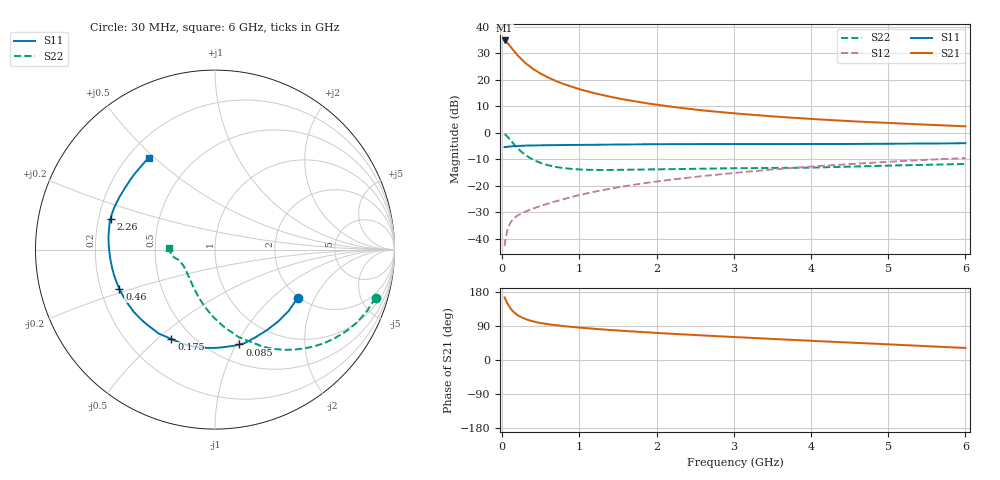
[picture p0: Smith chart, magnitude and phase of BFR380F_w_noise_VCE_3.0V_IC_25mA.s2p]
! Infineon Technologies  Discrete & RF Semiconductors
! BFR380F
! VCE =  3.0 V,  IC =  25 mA
! Common Emitter S-Parameters:  Nov 2015
# GHz  S  MA  R  50
!  f  S11  S21  S12  S22
! GHz  MAG  ANG  MAG  ANG  MAG  ANG  MAG  ANG
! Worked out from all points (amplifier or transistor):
!   206 points, 30 MHz to 6 GHz, reference 50 ohm
!   highest |S21| = 34.8 dB at 30 MHz (marker M1)
!   |S21| within 3 dB of that: start of sweep to 123.9 MHz
!   unconditionally stable (mu >= 1): 1.218 GHz to 4.964 GHz
!   at 200 MHz: K = 0.44, MSG = 30.2 dB, |S12| = -31.2 dB
!   at 1.56 GHz: K = 1.03, MAG = 15.5 dB, |S12| = -20.3 dB
!   at 6 GHz: K = 0.99, MSG = 6.0 dB, |S12| = -9.6 dB
!   lowest NFmin = 1.13 dB at 900 MHz
!   S11 on the Smith chart (normalised r, x): 30 MHz: 1.98, -1.48; 85 MHz: 0.68, -1.03; 175 MHz: 0.39, -0.56; 460 MHz: 0.28, -0.18; 2.26 GHz: 0.25, +0.14; 6 GHz: 0.28, +0.48
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0.03  0.5336 -30.1  54.85 165.0  0.0072 79.9  0.9341 -16.7
0.05  0.5331 -48.8  52.32 155.6  0.0114 72.5  0.889 -27.2
0.07  0.5383 -65.3  48.66 147.7  0.0151 67.3  0.8303 -36.5
0.085  0.5455 -75.6  45.83 142.8  0.0173 63.9  0.7836 -42.7
0.1  0.5456 -84.6  43.01 138.0  0.0193 60.8  0.7379 -48.4
0.13  0.5539 -99.5  37.83 130.4  0.0225 56.7  0.6531 -58.2
0.15  0.5558 -108.2  34.82 126.1  0.0242 54.9  0.6036 -63.7
0.175  0.5542 -116.0  31.59 122.4  0.0258 53.4  0.5509 -68.8
0.2  0.5629 -123.8  28.52 117.9  0.0274 52.1  0.5035 -75.0
0.26  0.566 -135.8  23.3 111.5  0.0305 51.4  0.4199 -85.1
0.3  0.5703 -142.3  20.56 107.9  0.0324 51.7  0.3777 -91.1
0.36  0.5718 -149.2  17.52 104.1  0.0352 52.6  0.3321 -98.4
0.46  0.576 -157.5  13.98 99.0  0.0397 54.7  0.2815 -108.7
0.7  0.582 -169.3  9.342 91.6  0.0511 59.6  0.2244 -126.5
1.04  0.5885 -178.6  6.358 84.8  0.0685 63.8  0.2005 -142.1
1.4  0.5959 174.6  4.743 79.2  0.0876 66.0  0.1975 -152.0
2.02  0.6051 166.2  3.331 71.3  0.1208 66.9  0.2036 -159.8
2.26  0.6072 163.5  2.997 68.5  0.1336 66.7  0.2064 -161.6
3.1  0.6077 155.2  2.249 59.7  0.1791 65.1  0.2132 -165.0
4.1  0.6082 145.1  1.777 49.7  0.2338 61.4  0.2202 -166.4
5.1  0.616 135.7  1.499 40.4  0.2866 57.0  0.2403 -172.0
6  0.6323 125.8  1.314 31.8  0.3312 52.0  0.2562 177.4
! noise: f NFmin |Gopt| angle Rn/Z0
0.45  1.16  0.25  179  0.08
0.9  1.13  0.3  177  0.07
1.8  1.34  0.38  -171  0.08
1.9  1.42  0.39  -171  0.08
2.4  1.5  0.41  -161  0.09
3.5  2.08  0.49  -150  0.13
